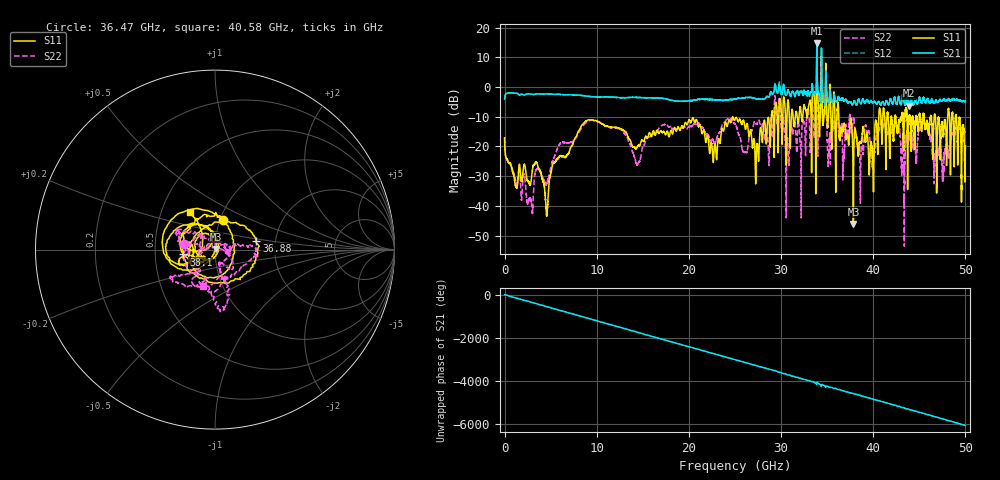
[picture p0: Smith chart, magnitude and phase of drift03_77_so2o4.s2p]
!Created with skrf (http://scikit-rf.org).
# Hz S RI R 50.0
!freq ReS11 ImS11 ReS21 ImS21 ReS12 ImS12 ReS22 ImS22
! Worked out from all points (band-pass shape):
!   10001 points, 300 kHz to 50 GHz, reference 50 ohm
!   highest |S21| = 14.67 dB at 33.88 GHz (marker M1); lowest = -6.3 dB at 43.9 GHz (marker M2)
!   |S21| within 3 dB of the highest: 33.86921 GHz to 33.88802 GHz (18.81 MHz wide, 0.0555 % of centre); 34.3774 GHz to 34.38824 GHz (10.84 MHz wide, 0.0315 % of centre)
!   lowest |S11| = -46.1 dB at 37.85 GHz (marker M3), VSWR 1.01, Z = 50.3 + j0.384 ohm
!   |S11| at or under -10 dB: start of sweep to 28.94 GHz; 36.27 GHz to 40.6 GHz (4.333 GHz wide, 11.3 % of centre); 46.74 GHz to 48.08 GHz (1.337 GHz wide, 2.82 % of centre) (the widest 3 of 57)
!   |S22| runs from -53.6 to 11.3 dB; largest |S21 - S12| = 0.81
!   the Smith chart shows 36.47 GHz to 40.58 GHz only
!   S11 on the Smith chart (normalised r, x): 36.47 GHz: 1.04, +0.35; 36.88 GHz: 1.59, +0.16; 38.1 GHz: 0.70, -0.04; 40.58 GHz: 0.70, +0.31
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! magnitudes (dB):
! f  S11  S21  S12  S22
! 300 kHz  -17.1  -4.0  -4.1  -16.9
! 2.82 GHz  -32.7  -2.4  -2.4  -37.7
! 4.555 GHz  -43.4  -2.3  -2.3  -32.3
! 8.335 GHz  -13.1  -2.8  -2.8  -13.9
! 14.45 GHz  -19.9  -3.5  -3.5  -25.8
! 16.67 GHz  -15.4  -3.7  -3.7  -14.3
! 22.82 GHz  -19.3  -4.3  -4.3  -19.1
! 25 GHz  -11.0  -4.0  -4.0  -12.5
! 26.09 GHz  -13.7  -3.6  -3.6  -21.9
! 27.39 GHz  -19.4  -4.1  -4.1  -12.4
! 29.6 GHz  -10.5  -2.0  -2.1  -11.7
! 30.7 GHz  -5.5  -1.3  -1.4  -17.1
! 33.34 GHz  -13.6  -0.4  -0.4  -7.0
! 33.88 GHz  15.7  14.7  14.3  11.2
! 36.47 GHz  -15.4  -4.3  -4.4  -15.2
! 36.88 GHz  -12.6  -4.6  -4.6  -21.2
! 37.85 GHz  -46.1  -5.4  -5.4  -10.8
! 38.1 GHz  -15.0  -5.7  -5.7  -16.7
! 40.58 GHz  -12.0  -4.9  -4.9  -13.5
! 41.67 GHz  -12.1  -5.9  -5.9  -14.8
! 43.9 GHz  -9.5  -6.3  -6.3  -17.1
! 50 GHz  -19.8  -4.9  -4.9  -15.0
